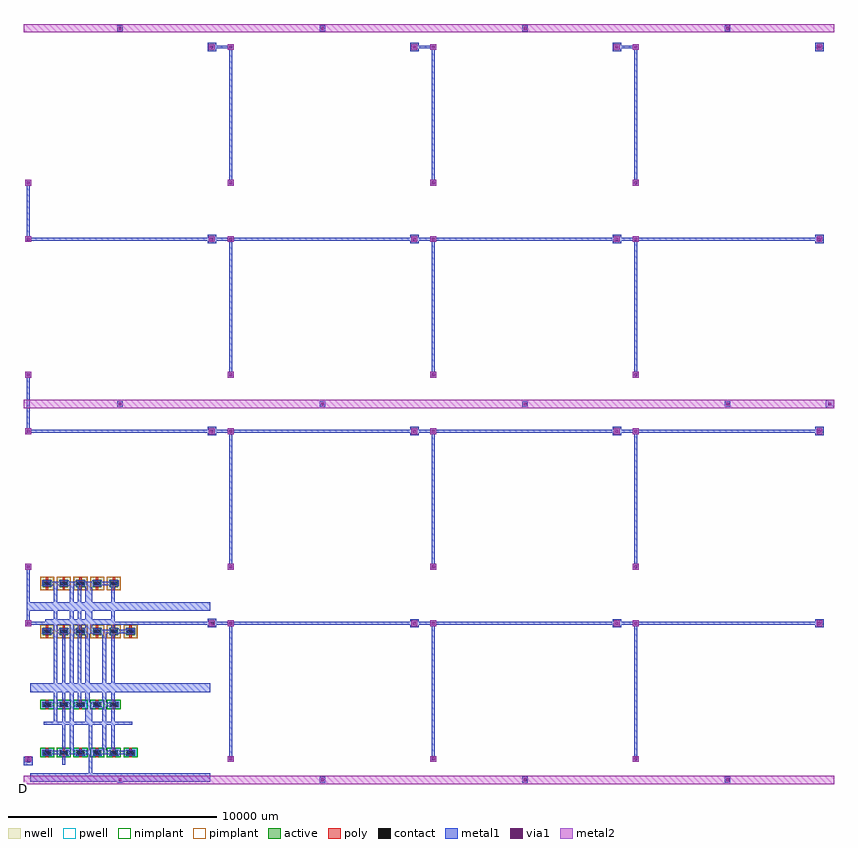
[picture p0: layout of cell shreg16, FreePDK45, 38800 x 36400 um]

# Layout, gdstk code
import gdstk
lib = gdstk.Library(unit=1e-6, precision=5e-10)
def R(c, l, rs):  # rectangles x0, y0, x1, y1
    for r in rs: c.add(gdstk.rectangle(r[:2], r[2:], *l))
def A(c, l, x, y, w, h, nx, ny, dx, dy):  # array of equal rectangles
    R(c, l, [(x+i*dx, y+j*dy, x+i*dx+w, y+j*dy+h) for i in range(nx) for j in range(ny)])
active = (1, 0)
pwell = (2, 0)
nwell = (3, 0)
nimplant = (4, 0)
pimplant = (5, 0)
poly = (9, 0)
contact = (10, 0)
metal1 = (11, 0)
via1 = (12, 0)
metal2 = (13, 0)

dff = lib.new_cell('dff')
A(dff, active, 910, 1610, 380, 180, 6, 1, 800, 0)
A(dff, active, 910, 3910, 380, 180, 5, 1, 800, 0)
A(dff, active, 910, 7320, 380, 360, 6, 1, 800, 0)
A(dff, active, 910, 9620, 380, 360, 5, 1, 800, 0)
A(dff, pwell, 800, 1500, 600, 400, 6, 1, 800, 0)
A(dff, pwell, 800, 3800, 600, 400, 5, 1, 800, 0)
A(dff, nwell, 800, 7210, 600, 580, 6, 1, 800, 0)
A(dff, nwell, 800, 9510, 600, 580, 5, 1, 800, 0)
A(dff, nimplant, 770, 1470, 660, 460, 6, 1, 800, 0)
A(dff, nimplant, 770, 3770, 660, 460, 5, 1, 800, 0)
A(dff, pimplant, 770, 7180, 660, 640, 6, 1, 800, 0)
A(dff, pimplant, 770, 9480, 660, 640, 5, 1, 800, 0)
A(dff, poly, 1050, 1470, 100, 460, 6, 1, 800, 0)
A(dff, poly, 1050, 3770, 100, 460, 5, 1, 800, 0)
A(dff, poly, 1050, 7180, 100, 640, 6, 1, 800, 0)
A(dff, poly, 1050, 9480, 100, 640, 5, 1, 800, 0)
R(dff, contact, [(135,1235,265,1365), (950,1635,1080,1765), (950,1635,1080,1765), (1035,1635,1165,1765), (1035,1635,1165,1765), (1120,1635,1250,1765), (1120,1635,1250,1765), (1750,1635,1880,1765), (1750,1635,1880,1765), (1835,1635,1965,1765), (1835,1635,1965,1765), (1920,1635,2050,1765), (1920,1635,2050,1765), (2550,1635,2680,1765), (2550,1635,2680,1765), (2635,1635,2765,1765), (2635,1635,2765,1765), (2720,1635,2850,1765), (2720,1635,2850,1765), (3350,1635,3480,1765), (3350,1635,3480,1765), (3435,1635,3565,1765), (3435,1635,3565,1765), (3520,1635,3650,1765), (3520,1635,3650,1765), (4150,1635,4280,1765), (4150,1635,4280,1765), (4235,1635,4365,1765), (4235,1635,4365,1765), (4320,1635,4450,1765), (4320,1635,4450,1765), (4950,1635,5080,1765), (4950,1635,5080,1765), (5035,1635,5165,1765), (5035,1635,5165,1765), (5120,1635,5250,1765), (5120,1635,5250,1765), (950,3935,1080,4065), (950,3935,1080,4065), (1035,3935,1165,4065), (1035,3935,1165,4065), (1120,3935,1250,4065), (1120,3935,1250,4065), (1750,3935,1880,4065), (1750,3935,1880,4065), (1835,3935,1965,4065), (1835,3935,1965,4065), (1920,3935,2050,4065), (1920,3935,2050,4065), (2550,3935,2680,4065), (2550,3935,2680,4065), (2635,3935,2765,4065), (2635,3935,2765,4065), (2720,3935,2850,4065), (2720,3935,2850,4065), (3350,3935,3480,4065), (3350,3935,3480,4065), (3435,3935,3565,4065), (3435,3935,3565,4065), (3520,3935,3650,4065), (3520,3935,3650,4065), (4150,3935,4280,4065), (4150,3935,4280,4065), (4235,3935,4365,4065), (4235,3935,4365,4065), (4320,3935,4450,4065), (4320,3935,4450,4065), (950,7435,1080,7565), (950,7435,1080,7565), (1035,7435,1165,7565), (1035,7435,1165,7565), (1120,7435,1250,7565), (1120,7435,1250,7565), (1750,7435,1880,7565), (1750,7435,1880,7565), (1835,7435,1965,7565), (1835,7435,1965,7565), (1920,7435,2050,7565), (1920,7435,2050,7565), (2550,7435,2680,7565), (2550,7435,2680,7565), (2635,7435,2765,7565), (2635,7435,2765,7565), (2720,7435,2850,7565), (2720,7435,2850,7565), (3350,7435,3480,7565), (3350,7435,3480,7565), (3435,7435,3565,7565), (3435,7435,3565,7565), (3520,7435,3650,7565), (3520,7435,3650,7565), (4150,7435,4280,7565), (4150,7435,4280,7565), (4235,7435,4365,7565), (4235,7435,4365,7565), (4320,7435,4450,7565), (4320,7435,4450,7565), (4950,7435,5080,7565), (4950,7435,5080,7565), (5035,7435,5165,7565), (5035,7435,5165,7565), (5120,7435,5250,7565), (5120,7435,5250,7565), (8935,7835,9065,7965), (950,9735,1080,9865), (950,9735,1080,9865), (1035,9735,1165,9865), (1035,9735,1165,9865), (1120,9735,1250,9865), (1120,9735,1250,9865), (1750,9735,1880,9865), (1750,9735,1880,9865), (1835,9735,1965,9865), (1835,9735,1965,9865), (1920,9735,2050,9865), (1920,9735,2050,9865), (2550,9735,2680,9865), (2550,9735,2680,9865), (2635,9735,2765,9865), (2635,9735,2765,9865), (2720,9735,2850,9865), (2720,9735,2850,9865), (3350,9735,3480,9865), (3350,9735,3480,9865), (3435,9735,3565,9865), (3435,9735,3565,9865), (3520,9735,3650,9865), (3520,9735,3650,9865), (4150,9735,4280,9865), (4150,9735,4280,9865), (4235,9735,4365,9865), (4235,9735,4365,9865), (4320,9735,4450,9865), (4320,9735,4450,9865)])
A(dff, metal1, 945, 3030, 2625, 140, 3, 1, 800, 0)
R(dff, metal1, [(300,300,8900,700), (1115,430,5255,570), (3115,430,3255,4070), (0,1100,400,1500), (1830,1130,1970,7570), (1830,1130,1970,1270), (65,1165,335,1435), (880,1565,1150,1835), (880,1565,1150,1835), (965,1565,1235,1835), (965,1565,1235,1835), (1050,1565,1320,1835), (1050,1565,1320,1835), (1680,1565,1950,1835), (1680,1565,1950,1835), (1765,1565,2035,1835), (1765,1565,2035,1835), (1850,1565,2120,1835), (1850,1565,2120,1835), (2480,1565,2750,1835), (2480,1565,2750,1835), (2565,1565,2835,1835), (2565,1565,2835,1835), (2650,1565,2920,1835), (2650,1565,2920,1835), (3280,1565,3550,1835), (3280,1565,3550,1835), (3365,1565,3635,1835), (3365,1565,3635,1835), (3450,1565,3720,1835), (3450,1565,3720,1835), (4080,1565,4350,1835), (4080,1565,4350,1835), (4165,1565,4435,1835), (4165,1565,4435,1835), (4250,1565,4520,1835), (4250,1565,4520,1835), (4880,1565,5150,1835), (4880,1565,5150,1835), (4965,1565,5235,1835), (4965,1565,5235,1835), (5050,1565,5320,1835), (5050,1565,5320,1835), (945,1630,2328,1770), (1030,1630,2370,1770), (1115,1630,3255,1770), (1745,1630,2370,1770), (1830,1630,1970,1770), (1915,1630,3255,1770), (2188,1630,2328,9870), (2188,1630,2770,1770), (2230,1630,2370,9870), (2230,1630,3570,1770), (2230,1630,2855,1770), (2230,1630,2370,3170), (2545,1630,3927,1770), (3115,1630,5255,1770), (3115,1630,4455,1770), (3345,1630,3885,1770), (3515,1630,3927,1770), (3745,1630,4285,1770), (3745,1630,3885,3170), (3788,1630,3927,7570), (3788,1630,5170,1770), (4188,1630,4328,9870), (4188,1630,5085,1770), (4188,1630,4370,1770), (945,3030,2055,3170), (945,3030,2055,3170), (1430,3030,1570,9870), (1430,3030,1570,4070), (1745,3030,2855,3170), (1745,3030,2855,3170), (2230,3030,2370,7570), (2545,3030,3485,3170), (2545,3030,3485,3170), (2945,3030,3085,9870), (2945,3030,3085,4070), (2988,3030,3128,9870), (3345,3030,4285,3170), (3345,3030,4285,3170), (3430,3030,5085,3170), (3745,3030,3885,7570), (880,3865,1150,4135), (880,3865,1150,4135), (965,3865,1235,4135), (965,3865,1235,4135), (1050,3865,1320,4135), (1050,3865,1320,4135), (1680,3865,1950,4135), (1680,3865,1950,4135), (1765,3865,2035,4135), (1765,3865,2035,4135), (1850,3865,2120,4135), (1850,3865,2120,4135), (2480,3865,2750,4135), (2480,3865,2750,4135), (2565,3865,2835,4135), (2565,3865,2835,4135), (2650,3865,2920,4135), (2650,3865,2920,4135), (3280,3865,3550,4135), (3280,3865,3550,4135), (3365,3865,3635,4135), (3365,3865,3635,4135), (3450,3865,3720,4135), (3450,3865,3720,4135), (4080,3865,4350,4135), (4080,3865,4350,4135), (4165,3865,4435,4135), (4165,3865,4435,4135), (4250,3865,4520,4135), (4250,3865,4520,4135), (945,3930,1570,4070), (1030,3930,2728,4070), (1115,3930,3255,4070), (1430,3930,2055,4070), (1745,3930,3128,4070), (1830,3930,2328,4070), (2230,3930,2770,4070), (2545,3930,3085,4070), (2588,3930,2728,9870), (2588,3930,4285,4070), (2715,3930,3128,4070), (2945,3930,3485,4070), (2988,3930,4370,4070), (3115,3930,4455,4070), (3115,3930,3655,4070), (3430,3930,4328,4070), (300,4600,8900,5000), (1030,4730,3570,4870), (880,7365,1150,7635), (880,7365,1150,7635), (965,7365,1235,7635), (965,7365,1235,7635), (1050,7365,1320,7635), (1050,7365,1320,7635), (1680,7365,1950,7635), (1680,7365,1950,7635), (1765,7365,2035,7635), (1765,7365,2035,7635), (1850,7365,2120,7635), (1850,7365,2120,7635), (2480,7365,2750,7635), (2480,7365,2750,7635), (2565,7365,2835,7635), (2565,7365,2835,7635), (2650,7365,2920,7635), (2650,7365,2920,7635), (3280,7365,3550,7635), (3280,7365,3550,7635), (3365,7365,3635,7635), (3365,7365,3635,7635), (3450,7365,3720,7635), (3450,7365,3720,7635), (4080,7365,4350,7635), (4080,7365,4350,7635), (4165,7365,4435,7635), (4165,7365,4435,7635), (4250,7365,4520,7635), (4250,7365,4520,7635), (4880,7365,5150,7635), (4880,7365,5150,7635), (4965,7365,5235,7635), (4965,7365,5235,7635), (5050,7365,5320,7635), (5050,7365,5320,7635), (945,7430,2328,7570), (1030,7430,2370,7570), (1115,7430,3255,7570), (1745,7430,2370,7570), (1830,7430,1970,7570), (1915,7430,3255,7570), (2188,7430,3570,7570), (2230,7430,2770,7570), (2230,7430,2855,7570), (2545,7430,3927,7570), (3115,7430,5255,7570), (3115,7430,3255,9870), (3115,7430,4455,7570), (3345,7430,3885,7570), (3515,7430,3927,7570), (3745,7430,4285,7570), (3788,7430,5170,7570), (4188,7430,5085,7570), (4188,7430,4370,7570), (8800,7700,9200,8100), (8865,7765,9135,8035), (1030,7930,4285,8070), (300,8500,8900,8900), (1115,8630,5255,8770), (880,9665,1150,9935), (880,9665,1150,9935), (965,9665,1235,9935), (965,9665,1235,9935), (1050,9665,1320,9935), (1050,9665,1320,9935), (1680,9665,1950,9935), (1680,9665,1950,9935), (1765,9665,2035,9935), (1765,9665,2035,9935), (1850,9665,2120,9935), (1850,9665,2120,9935), (2480,9665,2750,9935), (2480,9665,2750,9935), (2565,9665,2835,9935), (2565,9665,2835,9935), (2650,9665,2920,9935), (2650,9665,2920,9935), (3280,9665,3550,9935), (3280,9665,3550,9935), (3365,9665,3635,9935), (3365,9665,3635,9935), (3450,9665,3720,9935), (3450,9665,3720,9935), (4080,9665,4350,9935), (4080,9665,4350,9935), (4165,9665,4435,9935), (4165,9665,4435,9935), (4250,9665,4520,9935), (4250,9665,4520,9935), (945,9730,1570,9870), (1030,9730,2728,9870), (1115,9730,3255,9870), (1430,9730,2055,9870), (1745,9730,3128,9870), (1830,9730,2370,9870), (2188,9730,2770,9870), (2545,9730,3085,9870), (2588,9730,4285,9870), (2715,9730,3128,9870), (2945,9730,3485,9870), (2988,9730,4370,9870), (3115,9730,4455,9870), (3115,9730,3655,9870), (3430,9730,4328,9870)])
dff.add(gdstk.Label('VSS', (0,0), layer=11, texttype=1))
dff.add(gdstk.Label('VDD', (0,0), layer=11, texttype=1))
dff.add(gdstk.Label('CK', (0,0), layer=11, texttype=1))
dff.add(gdstk.Label('D', (0,0), layer=11, texttype=1))
dff.add(gdstk.Label('Q', (0,0), layer=11, texttype=1))

shreg16 = lib.new_cell('shreg16')
A(shreg16, metal1, 60, 1260, 280, 280, 4, 4, 9700, 9200)
A(shreg16, metal1, 9830, 1330, 140, 6640, 3, 4, 9700, 9200)
A(shreg16, metal1, 8800, 7700, 400, 400, 4, 4, 9700, 9200)
A(shreg16, metal1, 60, 7760, 280, 280, 1, 3, 0, 9200)
A(shreg16, metal1, 8860, 7760, 280, 280, 1, 4, 0, 9200)
A(shreg16, metal1, 9760, 7760, 280, 280, 1, 4, 0, 9200)
A(shreg16, metal1, 18560, 7760, 280, 280, 1, 4, 0, 9200)
A(shreg16, metal1, 19460, 7760, 280, 280, 1, 4, 0, 9200)
A(shreg16, metal1, 28260, 7760, 280, 280, 1, 4, 0, 9200)
A(shreg16, metal1, 29160, 7760, 280, 280, 1, 4, 0, 9200)
A(shreg16, metal1, 37960, 7760, 280, 280, 1, 4, 0, 9200)
A(shreg16, metal1, 130, 7830, 38040, 140, 1, 3, 0, 9200)
A(shreg16, metal1, 130, 7830, 140, 2840, 1, 3, 0, 9200)
A(shreg16, metal1, 8930, 7830, 1040, 140, 3, 4, 9700, 9200)
R(shreg16, metal1, [(4460,260,4740,540), (4460,260,4740,540), (4460,260,4740,540), (4460,260,4740,540), (14160,260,14440,540), (14160,260,14440,540), (14160,260,14440,540), (14160,260,14440,540), (23860,260,24140,540), (23860,260,24140,540), (23860,260,24140,540), (23860,260,24140,540), (33560,260,33840,540), (33560,260,33840,540), (33560,260,33840,540), (33560,260,33840,540), (0,1300,400,1500), (38400,18200,38800,18600), (4460,18260,4740,18540), (4460,18260,4740,18540), (4460,18260,4740,18540), (4460,18260,4740,18540), (14160,18260,14440,18540), (14160,18260,14440,18540), (14160,18260,14440,18540), (14160,18260,14440,18540), (23860,18260,24140,18540), (23860,18260,24140,18540), (23860,18260,24140,18540), (23860,18260,24140,18540), (33560,18260,33840,18540), (33560,18260,33840,18540), (33560,18260,33840,18540), (33560,18260,33840,18540), (38460,18260,38740,18540), (4460,36260,4740,36540), (4460,36260,4740,36540), (4460,36260,4740,36540), (4460,36260,4740,36540), (14160,36260,14440,36540), (14160,36260,14440,36540), (14160,36260,14440,36540), (14160,36260,14440,36540), (23860,36260,24140,36540), (23860,36260,24140,36540), (23860,36260,24140,36540), (23860,36260,24140,36540), (33560,36260,33840,36540), (33560,36260,33840,36540), (33560,36260,33840,36540), (33560,36260,33840,36540)])
A(shreg16, via1, 130, 1330, 140, 140, 4, 4, 9700, 9200)
A(shreg16, via1, 130, 7830, 140, 140, 1, 3, 0, 9200)
A(shreg16, via1, 8930, 7830, 140, 140, 1, 4, 0, 9200)
A(shreg16, via1, 9830, 7830, 140, 140, 1, 4, 0, 9200)
A(shreg16, via1, 18630, 7830, 140, 140, 1, 4, 0, 9200)
A(shreg16, via1, 19530, 7830, 140, 140, 1, 4, 0, 9200)
A(shreg16, via1, 28330, 7830, 140, 140, 1, 4, 0, 9200)
A(shreg16, via1, 29230, 7830, 140, 140, 1, 4, 0, 9200)
A(shreg16, via1, 38030, 7830, 140, 140, 1, 4, 0, 9200)
R(shreg16, via1, [(4530,330,4670,470), (4530,330,4670,470), (4530,330,4670,470), (4530,330,4670,470), (14230,330,14370,470), (14230,330,14370,470), (14230,330,14370,470), (14230,330,14370,470), (23930,330,24070,470), (23930,330,24070,470), (23930,330,24070,470), (23930,330,24070,470), (33630,330,33770,470), (33630,330,33770,470), (33630,330,33770,470), (33630,330,33770,470), (4530,18330,4670,18470), (4530,18330,4670,18470), (4530,18330,4670,18470), (4530,18330,4670,18470), (14230,18330,14370,18470), (14230,18330,14370,18470), (14230,18330,14370,18470), (14230,18330,14370,18470), (23930,18330,24070,18470), (23930,18330,24070,18470), (23930,18330,24070,18470), (23930,18330,24070,18470), (33630,18330,33770,18470), (33630,18330,33770,18470), (33630,18330,33770,18470), (33630,18330,33770,18470), (38530,18330,38670,18470), (4530,36330,4670,36470), (4530,36330,4670,36470), (4530,36330,4670,36470), (4530,36330,4670,36470), (14230,36330,14370,36470), (14230,36330,14370,36470), (14230,36330,14370,36470), (14230,36330,14370,36470), (23930,36330,24070,36470), (23930,36330,24070,36470), (23930,36330,24070,36470), (23930,36330,24070,36470), (33630,36330,33770,36470), (33630,36330,33770,36470), (33630,36330,33770,36470), (33630,36330,33770,36470)])
A(shreg16, metal2, 0, 200, 38800, 400, 1, 3, 0, 18000)
A(shreg16, metal2, 60, 1260, 280, 280, 4, 4, 9700, 9200)
A(shreg16, metal2, 60, 7760, 280, 280, 1, 3, 0, 9200)
A(shreg16, metal2, 8860, 7760, 280, 280, 1, 4, 0, 9200)
A(shreg16, metal2, 9760, 7760, 280, 280, 1, 4, 0, 9200)
A(shreg16, metal2, 18560, 7760, 280, 280, 1, 4, 0, 9200)
A(shreg16, metal2, 19460, 7760, 280, 280, 1, 4, 0, 9200)
A(shreg16, metal2, 28260, 7760, 280, 280, 1, 4, 0, 9200)
A(shreg16, metal2, 29160, 7760, 280, 280, 1, 4, 0, 9200)
A(shreg16, metal2, 37960, 7760, 280, 280, 1, 4, 0, 9200)
R(shreg16, metal2, [(4460,260,4740,540), (4460,260,4740,540), (4460,260,4740,540), (4460,260,4740,540), (14160,260,14440,540), (14160,260,14440,540), (14160,260,14440,540), (14160,260,14440,540), (23860,260,24140,540), (23860,260,24140,540), (23860,260,24140,540), (23860,260,24140,540), (33560,260,33840,540), (33560,260,33840,540), (33560,260,33840,540), (33560,260,33840,540), (4460,18260,4740,18540), (4460,18260,4740,18540), (4460,18260,4740,18540), (4460,18260,4740,18540), (14160,18260,14440,18540), (14160,18260,14440,18540), (14160,18260,14440,18540), (14160,18260,14440,18540), (23860,18260,24140,18540), (23860,18260,24140,18540), (23860,18260,24140,18540), (23860,18260,24140,18540), (33560,18260,33840,18540), (33560,18260,33840,18540), (33560,18260,33840,18540), (33560,18260,33840,18540), (38460,18260,38740,18540), (4460,36260,4740,36540), (4460,36260,4740,36540), (4460,36260,4740,36540), (4460,36260,4740,36540), (14160,36260,14440,36540), (14160,36260,14440,36540), (14160,36260,14440,36540), (14160,36260,14440,36540), (23860,36260,24140,36540), (23860,36260,24140,36540), (23860,36260,24140,36540), (23860,36260,24140,36540), (33560,36260,33840,36540), (33560,36260,33840,36540), (33560,36260,33840,36540), (33560,36260,33840,36540)])
shreg16.add(gdstk.Reference(dff, (0,0)))
shreg16.add(gdstk.Reference(dff, (4.85,0)))
shreg16.add(gdstk.Reference(dff, (9.7,0)))
shreg16.add(gdstk.Reference(dff, (14.55,0)))
shreg16.add(gdstk.Reference(dff, (0,4.6)))
shreg16.add(gdstk.Reference(dff, (4.85,4.6)))
shreg16.add(gdstk.Reference(dff, (9.7,4.6)))
shreg16.add(gdstk.Reference(dff, (14.55,4.6)))
shreg16.add(gdstk.Reference(dff, (0,9.2)))
shreg16.add(gdstk.Reference(dff, (4.85,9.2)))
shreg16.add(gdstk.Reference(dff, (9.7,9.2)))
shreg16.add(gdstk.Reference(dff, (14.55,9.2)))
shreg16.add(gdstk.Reference(dff, (0,13.8)))
shreg16.add(gdstk.Reference(dff, (4.85,13.8)))
shreg16.add(gdstk.Reference(dff, (9.7,13.8)))
shreg16.add(gdstk.Reference(dff, (14.55,13.8)))
shreg16.add(gdstk.Label('D', (0,0), layer=11, texttype=1))
shreg16.add(gdstk.Label('Q0', (0,0), layer=11, texttype=1))
shreg16.add(gdstk.Label('Q1', (0,0), layer=11, texttype=1))
shreg16.add(gdstk.Label('Q2', (0,0), layer=11, texttype=1))
shreg16.add(gdstk.Label('Q3', (0,0), layer=11, texttype=1))
shreg16.add(gdstk.Label('Q4', (0,0), layer=11, texttype=1))
shreg16.add(gdstk.Label('Q5', (0,0), layer=11, texttype=1))
shreg16.add(gdstk.Label('Q6', (0,0), layer=11, texttype=1))
shreg16.add(gdstk.Label('Q7', (0,0), layer=11, texttype=1))
shreg16.add(gdstk.Label('Q8', (0,0), layer=11, texttype=1))
shreg16.add(gdstk.Label('Q9', (0,0), layer=11, texttype=1))
shreg16.add(gdstk.Label('Q10', (0,0), layer=11, texttype=1))
shreg16.add(gdstk.Label('Q11', (0,0), layer=11, texttype=1))
shreg16.add(gdstk.Label('Q12', (0,0), layer=11, texttype=1))
shreg16.add(gdstk.Label('Q13', (0,0), layer=11, texttype=1))
shreg16.add(gdstk.Label('Q14', (0,0), layer=11, texttype=1))
shreg16.add(gdstk.Label('Q15', (0,0), layer=11, texttype=1))
shreg16.add(gdstk.Label('CK', (0,0), layer=11, texttype=1))
shreg16.add(gdstk.Label('VSS', (0,0), layer=13, texttype=1))
shreg16.add(gdstk.Label('VDD', (0,0), layer=13, texttype=1))
shreg16.add(gdstk.Label('CK', (0,0), layer=13, texttype=1))

lib.write_gds('shreg16.gds')
